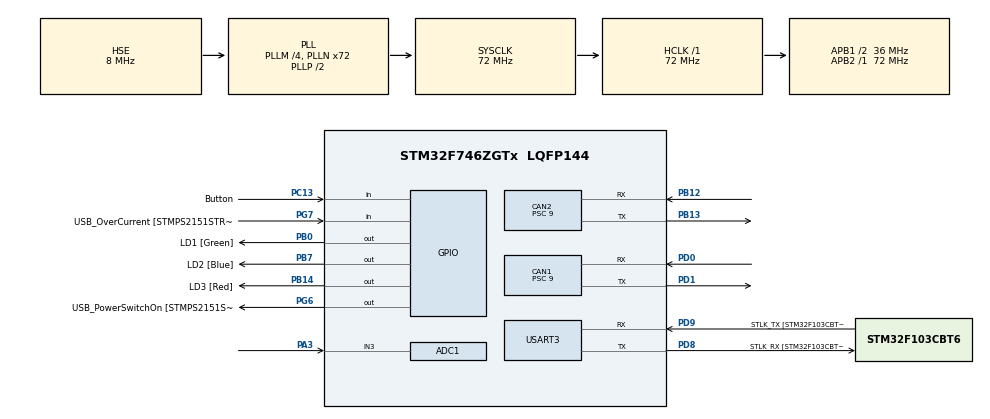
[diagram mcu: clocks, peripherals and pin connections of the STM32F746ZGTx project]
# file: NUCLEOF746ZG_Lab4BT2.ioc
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ADC1.Channel-4\#ChannelRegularConversion=ADC_CHANNEL_3
ADC1.Channel-5\#ChannelInjectedConversion=ADC_CHANNEL_3
ADC1.ExternalTrigConv=ADC_SOFTWARE_START
ADC1.ExternalTrigConvEdge=ADC_EXTERNALTRIGCONVEDGE_NONE
ADC1.InjNumberOfConversion=1
ADC1.InjectedOffset-5\#ChannelInjectedConversion=0
ADC1.InjectedRank-5\#ChannelInjectedConversion=1
ADC1.NbrOfConversion=1
ADC1.NbrOfConversionFlag=1
ADC1.Rank-4\#ChannelRegularConversion=1
ADC1.Resolution=ADC_RESOLUTION_8B
ADC1.SamplingTime-4\#ChannelRegularConversion=ADC_SAMPLETIME_15CYCLES
ADC1.SamplingTime-5\#ChannelInjectedConversion=ADC_SAMPLETIME_3CYCLES
ADC1.master=1
CAN1.BS1=CAN_BS1_3TQ
CAN1.BS2=CAN_BS2_4TQ
CAN1.CalculateBaudRate=500000
CAN1.CalculateTimeBit=2000
CAN1.CalculateTimeQuantum=250.0
CAN1.Prescaler=9
CAN1.SJW=CAN_SJW_2TQ
CAN2.BS1=CAN_BS1_3TQ
CAN2.BS2=CAN_BS2_4TQ
CAN2.CalculateBaudRate=500000
CAN2.CalculateTimeBit=2000
CAN2.CalculateTimeQuantum=250.0
CAN2.Prescaler=9
CAN2.SJW=CAN_SJW_2TQ
CORTEX_M7.CPU_ICache=Disabled
CORTEX_M7.PREFETCH_ENABLE=0
FREERTOS.Events01=DoneTransfer,Dynamic,NULL
FREERTOS.Tasks01=Tester,24,128,TesterTask,Default,NULL,Dynamic,NULL,NULL;ECU,24,128,ECUTask,Default,NULL,Dynamic,NULL,NULL
FREERTOS.configUSE_NEWLIB_REENTRANT=1
Mcu.Family=STM32F7
Mcu.Name=STM32F746ZGTx
Mcu.Package=LQFP144
NVIC.CAN1_RX0_IRQn=true\:5\:0\:false\:false\:true\:true\:true\:true\:true
NVIC.CAN2_RX1_IRQn=true\:5\:0\:false\:false\:true\:true\:true\:true\:true
NVIC.PriorityGroup=NVIC_PRIORITYGROUP_4
NVIC.TIM1_UP_TIM10_IRQn=true\:15\:0\:false\:false\:true\:false\:false\:true\:true
NVIC.TimeBase=TIM1_UP_TIM10_IRQn
NVIC.TimeBaseIP=TIM1
PA13.Mode=Serial_Wire
PA13.Signal=SYS_JTMS-SWDIO
PA14.Mode=Serial_Wire
PA14.Signal=SYS_JTCK-SWCLK
PA3.Signal=ADCx_IN3
PB0.GPIO_Label=LD1 [Green]
PB0.Signal=GPIO_Output
PB12.Mode=CAN_Activate
PB12.Signal=CAN2_RX
PB13.Mode=CAN_Activate
PB13.Signal=CAN2_TX
PB14.GPIO_Label=LD3 [Red]
PB14.Signal=GPIO_Output
PB7.GPIO_Label=LD2 [Blue]
PB7.Signal=GPIO_Output
PC13.GPIO_Label=Button
PC13.Signal=GPIO_Input
PC14/OSC32_IN.Mode=LSE-External-Oscillator
PC14/OSC32_IN.Signal=RCC_OSC32_IN
PC15/OSC32_OUT.Mode=LSE-External-Oscillator
PC15/OSC32_OUT.Signal=RCC_OSC32_OUT
PD0.Mode=CAN_Activate
PD0.Signal=CAN1_RX
PD1.Mode=CAN_Activate
PD1.Signal=CAN1_TX
PD8.GPIO_Label=STLK_RX [STM32F103CBT6_PA3]
PD8.Mode=Asynchronous
PD8.Signal=USART3_TX
PD9.GPIO_Label=STLK_TX [STM32F103CBT6_PA2]
PD9.Mode=Asynchronous
PD9.Signal=USART3_RX
PG6.GPIO_Label=USB_PowerSwitchOn [STMPS2151STR_EN]
PG6.Signal=GPIO_Output
PG7.GPIO_Label=USB_OverCurrent [STMPS2151STR_FAULT]
PG7.Signal=GPIO_Input
PH0/OSC_IN.GPIO_Label=MCO [STM32F103CBT6_PA8]
PH0/OSC_IN.Mode=HSE-External-Clock-Source
PH0/OSC_IN.Signal=RCC_OSC_IN
PH1/OSC_OUT.Mode=HSE-External-Clock-Source
PH1/OSC_OUT.Signal=RCC_OSC_OUT
ProjectManager.HeapSize=0x200
ProjectManager.StackSize=0x400
ProjectManager.TargetToolchain=STM32CubeIDE
RCC.48MHZClocksFreq_Value=24000000
RCC.AHBFreq_Value=72000000
RCC.APB1CLKDivider=RCC_HCLK_DIV2
RCC.APB1Freq_Value=36000000
RCC.APB1TimFreq_Value=72000000
RCC.APB2Freq_Value=72000000
RCC.APB2TimFreq_Value=72000000
RCC.CortexFreq_Value=72000000
RCC.HCLKFreq_Value=72000000
RCC.HSE_VALUE=8000000
RCC.HSI_VALUE=16000000
RCC.PLLM=4
RCC.PLLMUL=RCC_PLL_MUL9
RCC.PLLN=72
RCC.PLLQ=3
RCC.PLLSourceVirtual=RCC_PLLSOURCE_HSE
RCC.PRESCALERUSB=RCC_USBCLKSOURCE_PLL_DIV1_5
RCC.SYSCLKFreq_VALUE=72000000
RCC.SYSCLKSource=RCC_SYSCLKSOURCE_PLLCLK
RCC.SYSCLKSourceVirtual=RCC_SYSCLKSOURCE_PLLCLK
RCC.USBFreq_Value=48000000
RCC.VCOOutputFreq_Value=144000000
SH.ADCx_IN3.0=ADC1_IN3,IN3
USART3.VirtualMode-Asynchronous=VM_ASYNC
VP_FREERTOS_VS_CMSIS_V2.Mode=CMSIS_V2
VP_SYS_VS_tim1.Mode=TIM1
board=NUCLEO-F746ZG

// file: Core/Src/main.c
/* USER CODE BEGIN Header */
/**
 ******************************************************************************
 * @file           : main.c
 * @brief          : Main program body
 ******************************************************************************
 * @attention
 *
 * Copyright (c) 2022 STMicroelectronics.
 * All rights reserved.
 *
 * This software is licensed under terms that can be found in the LICENSE file
 * in the root directory of this software component.
 * If no LICENSE file comes with this software, it is provided AS-IS.
 *
 ******************************************************************************
 */
/* USER CODE END Header */
#include "main.h"
#include "cmsis_os.h"

/* USER CODE BEGIN Includes */
#include "stdio.h"
/* USER CODE END Includes */

/* USER CODE BEGIN PTD */
#ifdef __GNUC__
/* With GCC/RAISONANCE, small printf (option LD Linker->Libraries->Small printf
 set to 'Yes') calls __io_putchar() */
#define PUTCHAR_PROTOTYPE int __io_putchar(int ch)
#else
#define PUTCHAR_PROTOTYPE int fputc(int ch, FILE *f)
#endif /* __GNUC__ */
/* USER CODE END PTD */

/* USER CODE BEGIN PD */
#define ACTIVATE_FLAG (1UL << 0)
/* USER CODE END PD */

ADC_HandleTypeDef hadc1;

CAN_HandleTypeDef hcan1;
CAN_HandleTypeDef hcan2;

UART_HandleTypeDef huart3;

/* Definitions for Tester */
osThreadId_t TesterHandle;
const osThreadAttr_t Tester_attributes = {
    .name       = "Tester",
    .stack_size = 128 * 4,
    .priority   = (osPriority_t)osPriorityNormal,
};
/* Definitions for ECU */
osThreadId_t ECUHandle;
const osThreadAttr_t ECU_attributes = {
    .name       = "ECU",
    .stack_size = 128 * 4,
    .priority   = (osPriority_t)osPriorityNormal,
};
/* Definitions for DoneTransfer */
osEventFlagsId_t DoneTransferHandle;
const osEventFlagsAttr_t DoneTransfer_attributes = {
    .name = "DoneTransfer"};
/* USER CODE BEGIN PV */
CAN_TxHeaderTypeDef Node1_TxHeader;
CAN_RxHeaderTypeDef Node1_RxHeader;

CAN_TxHeaderTypeDef Node2_TxHeader;
CAN_RxHeaderTypeDef Node2_RxHeader;

uint32_t Node1TxMsgMailBox;
uint32_t Node2TxMsgMailBox;

uint8_t Node1_TxData[8];

/* USER CODE END PV */

void SystemClock_Config(void);
static void MX_GPIO_Init(void);
static void MX_USART3_UART_Init(void);
static void MX_CAN1_Init(void);
static void MX_CAN2_Init(void);
static void MX_ADC1_Init(void);
void TesterTask(void *argument);
void ECUTask(void *argument);

/* USER CODE BEGIN 0 */
void HAL_CAN_RxFifo0MsgPendingCallback(CAN_HandleTypeDef *hcan)
{
}
void HAL_CAN_RxFifo1MsgPendingCallback(CAN_HandleTypeDef *hcan)
{
}
/* USER CODE END 0 */

int main(void)
{
    /* USER CODE BEGIN 1 */
    Node1_TxHeader.IDE   = CAN_ID_STD;
    Node1_TxHeader.StdId = 0x712;
    Node1_TxHeader.RTR   = CAN_RTR_DATA;
    Node1_TxHeader.DLC   = 8;

    Node2_TxHeader.IDE   = CAN_ID_STD;
    Node2_TxHeader.StdId = 0x7A2;
    Node2_TxHeader.RTR   = CAN_RTR_DATA;
    Node2_TxHeader.DLC   = 8;
    /* USER CODE END 1 */

    /* MCU Configuration--------------------------------------------------------*/

    /* Reset of all peripherals, Initializes the Flash interface and the Systick. */
    HAL_Init();

    /* Configure the system clock */
    SystemClock_Config();

    /* Initialize all configured peripherals */
    MX_GPIO_Init();
    MX_USART3_UART_Init();
    MX_CAN1_Init();
    MX_CAN2_Init();
    MX_ADC1_Init();
    /* USER CODE BEGIN 2 */
    // HAL_CAN_ActivateNotification(&hcan1, CAN_IT_RX_FIFO0_MSG_PENDING);
    // HAL_CAN_ActivateNotification(&hcan2, CAN_IT_RX_FIFO0_MSG_PENDING);
    /* USER CODE END 2 */

    /* Init scheduler */
    osKernelInitialize();

    /* Create the thread(s) */
    /* creation of Tester */
    TesterHandle = osThreadNew(TesterTask, NULL, &Tester_attributes);

    /* creation of ECU */
    ECUHandle = osThreadNew(ECUTask, NULL, &ECU_attributes);

    /* Create the event(s) */
    /* creation of DoneTransfer */
    DoneTransferHandle = osEventFlagsNew(&DoneTransfer_attributes);

    /* Start scheduler */
    osKernelStart();

    /* We should never get here as control is now taken by the scheduler */
    /* Infinite loop */
    while (1) {

    }
}

void SystemClock_Config(void)
{
    RCC_OscInitTypeDef RCC_OscInitStruct = {0};
    RCC_ClkInitTypeDef RCC_ClkInitStruct = {0};

    /** Configure LSE Drive Capability
     */
    HAL_PWR_EnableBkUpAccess();

    /** Configure the main internal regulator output voltage
     */
    __HAL_RCC_PWR_CLK_ENABLE();
    __HAL_PWR_VOLTAGESCALING_CONFIG(PWR_REGULATOR_VOLTAGE_SCALE3);

    /** Initializes the RCC Oscillators according to the specified parameters
     * in the RCC_OscInitTypeDef structure.
     */
    RCC_OscInitStruct.OscillatorType = RCC_OSCILLATORTYPE_HSE;
    RCC_OscInitStruct.HSEState       = RCC_HSE_BYPASS;
    RCC_OscInitStruct.PLL.PLLState   = RCC_PLL_ON;
    RCC_OscInitStruct.PLL.PLLSource  = RCC_PLLSOURCE_HSE;
    RCC_OscInitStruct.PLL.PLLM       = 4;
    RCC_OscInitStruct.PLL.PLLN       = 72;
    RCC_OscInitStruct.PLL.PLLP       = RCC_PLLP_DIV2;
    RCC_OscInitStruct.PLL.PLLQ       = 3;
    if (HAL_RCC_OscConfig(&RCC_OscInitStruct) != HAL_OK) {
        Error_Handler();
    }

    /** Initializes the CPU, AHB and APB buses clocks
     */
    RCC_ClkInitStruct.ClockType      = RCC_CLOCKTYPE_HCLK | RCC_CLOCKTYPE_SYSCLK | RCC_CLOCKTYPE_PCLK1 | RCC_CLOCKTYPE_PCLK2;
    RCC_ClkInitStruct.SYSCLKSource   = RCC_SYSCLKSOURCE_PLLCLK;
    RCC_ClkInitStruct.AHBCLKDivider  = RCC_SYSCLK_DIV1;
    RCC_ClkInitStruct.APB1CLKDivider = RCC_HCLK_DIV2;
    RCC_ClkInitStruct.APB2CLKDivider = RCC_HCLK_DIV1;

    if (HAL_RCC_ClockConfig(&RCC_ClkInitStruct, FLASH_LATENCY_2) != HAL_OK) {
        Error_Handler();
    }
}

static void MX_ADC1_Init(void)
{

    ADC_ChannelConfTypeDef sConfig           = {0};
    ADC_InjectionConfTypeDef sConfigInjected = {0};

    /** Configure the global features of the ADC (Clock, Resolution, Data Alignment and number of conversion)
     */
    hadc1.Instance                   = ADC1;
    hadc1.Init.ClockPrescaler        = ADC_CLOCK_SYNC_PCLK_DIV2;
    hadc1.Init.Resolution            = ADC_RESOLUTION_8B;
    hadc1.Init.ScanConvMode          = ADC_SCAN_DISABLE;
    hadc1.Init.ContinuousConvMode    = DISABLE;
    hadc1.Init.DiscontinuousConvMode = DISABLE;
    hadc1.Init.ExternalTrigConvEdge  = ADC_EXTERNALTRIGCONVEDGE_NONE;
    hadc1.Init.ExternalTrigConv      = ADC_SOFTWARE_START;
    hadc1.Init.DataAlign             = ADC_DATAALIGN_RIGHT;
    hadc1.Init.NbrOfConversion       = 1;
    hadc1.Init.DMAContinuousRequests = DISABLE;
    hadc1.Init.EOCSelection          = ADC_EOC_SINGLE_CONV;
    if (HAL_ADC_Init(&hadc1) != HAL_OK) {
        Error_Handler();
    }

    /** Configure for the selected ADC regular channel its corresponding rank in the sequencer and its sample time.
     */
    sConfig.Channel      = ADC_CHANNEL_3;
    sConfig.Rank         = ADC_REGULAR_RANK_1;
    sConfig.SamplingTime = ADC_SAMPLETIME_15CYCLES;
    if (HAL_ADC_ConfigChannel(&hadc1, &sConfig) != HAL_OK) {
        Error_Handler();
    }

    /** Configures for the selected ADC injected channel its corresponding rank in the sequencer and its sample time
     */
    sConfigInjected.InjectedChannel               = ADC_CHANNEL_3;
    sConfigInjected.InjectedRank                  = ADC_INJECTED_RANK_1;
    sConfigInjected.InjectedNbrOfConversion       = 1;
    sConfigInjected.InjectedSamplingTime          = ADC_SAMPLETIME_3CYCLES;
    sConfigInjected.ExternalTrigInjecConvEdge     = ADC_EXTERNALTRIGINJECCONVEDGE_NONE;
    sConfigInjected.ExternalTrigInjecConv         = ADC_INJECTED_SOFTWARE_START;
    sConfigInjected.AutoInjectedConv              = DISABLE;
    sConfigInjected.InjectedDiscontinuousConvMode = DISABLE;
    sConfigInjected.InjectedOffset                = 0;
    if (HAL_ADCEx_InjectedConfigChannel(&hadc1, &sConfigInjected) != HAL_OK) {
        Error_Handler();
    }
}

static void MX_CAN1_Init(void)
{

    hcan1.Instance                  = CAN1;
    hcan1.Init.Prescaler            = 9;
    hcan1.Init.Mode                 = CAN_MODE_NORMAL;
    hcan1.Init.SyncJumpWidth        = CAN_SJW_2TQ;
    hcan1.Init.TimeSeg1             = CAN_BS1_3TQ;
    hcan1.Init.TimeSeg2             = CAN_BS2_4TQ;
    hcan1.Init.TimeTriggeredMode    = DISABLE;
    hcan1.Init.AutoBusOff           = DISABLE;
    hcan1.Init.AutoWakeUp           = DISABLE;
    hcan1.Init.AutoRetransmission   = DISABLE;
    hcan1.Init.ReceiveFifoLocked    = DISABLE;
    hcan1.Init.TransmitFifoPriority = DISABLE;
    if (HAL_CAN_Init(&hcan1) != HAL_OK) {
        Error_Handler();
    }
    /* USER CODE BEGIN CAN1_Init 2 */
    CAN_FilterTypeDef canfilterconfig;
    canfilterconfig.FilterActivation     = CAN_FILTER_ENABLE;
    canfilterconfig.FilterBank           = 18;
    canfilterconfig.FilterFIFOAssignment = CAN_FILTER_FIFO0;
    canfilterconfig.FilterIdHigh         = 0x7A2 << 5;
    canfilterconfig.FilterIdLow          = 0;
    canfilterconfig.FilterMaskIdHigh     = 0x7A2 << 5;
    canfilterconfig.FilterMaskIdLow      = 0x0000;
    canfilterconfig.FilterMode           = CAN_FILTERMODE_IDMASK;
    canfilterconfig.FilterScale          = CAN_FILTERSCALE_32BIT;
    canfilterconfig.SlaveStartFilterBank = 20;

    HAL_CAN_ConfigFilter(&hcan1, &canfilterconfig);
    HAL_CAN_Start(&hcan1);
    /* USER CODE END CAN1_Init 2 */
}

static void MX_CAN2_Init(void)
{

    hcan2.Instance                  = CAN2;
    hcan2.Init.Prescaler            = 9;
    hcan2.Init.Mode                 = CAN_MODE_NORMAL;
    hcan2.Init.SyncJumpWidth        = CAN_SJW_2TQ;
    hcan2.Init.TimeSeg1             = CAN_BS1_3TQ;
    hcan2.Init.TimeSeg2             = CAN_BS2_4TQ;
    hcan2.Init.TimeTriggeredMode    = DISABLE;
    hcan2.Init.AutoBusOff           = DISABLE;
    hcan2.Init.AutoWakeUp           = DISABLE;
    hcan2.Init.AutoRetransmission   = DISABLE;
    hcan2.Init.ReceiveFifoLocked    = DISABLE;
    hcan2.Init.TransmitFifoPriority = DISABLE;
    if (HAL_CAN_Init(&hcan2) != HAL_OK) {
        Error_Handler();
    }
    /* USER CODE BEGIN CAN2_Init 2 */
    CAN_FilterTypeDef canfilterconfig;
    canfilterconfig.FilterActivation     = CAN_FILTER_ENABLE;
    canfilterconfig.FilterBank           = 10;
    canfilterconfig.FilterFIFOAssignment = CAN_FILTER_FIFO1;
    canfilterconfig.FilterIdHigh         = 0x712 << 5;
    canfilterconfig.FilterIdLow          = 0;
    canfilterconfig.FilterMaskIdHigh     = 0x712 << 5;
    canfilterconfig.FilterMaskIdLow      = 0;
    canfilterconfig.FilterMode           = CAN_FILTERMODE_IDMASK;
    canfilterconfig.FilterScale          = CAN_FILTERSCALE_32BIT;
    canfilterconfig.SlaveStartFilterBank = 0;

    HAL_CAN_ConfigFilter(&hcan2, &canfilterconfig);
    HAL_CAN_Start(&hcan2);
    /* USER CODE END CAN2_Init 2 */
}

static void MX_USART3_UART_Init(void)
{

    huart3.Instance                    = USART3;
    huart3.Init.BaudRate               = 115200;
    huart3.Init.WordLength             = UART_WORDLENGTH_8B;
    huart3.Init.StopBits               = UART_STOPBITS_1;
    huart3.Init.Parity                 = UART_PARITY_NONE;
    huart3.Init.Mode                   = UART_MODE_TX_RX;
    huart3.Init.HwFlowCtl              = UART_HWCONTROL_NONE;
    huart3.Init.OverSampling           = UART_OVERSAMPLING_16;
    huart3.Init.OneBitSampling         = UART_ONE_BIT_SAMPLE_DISABLE;
    huart3.AdvancedInit.AdvFeatureInit = UART_ADVFEATURE_NO_INIT;
    if (HAL_UART_Init(&huart3) != HAL_OK) {
        Error_Handler();
    }
}

static void MX_GPIO_Init(void)
{
    GPIO_InitTypeDef GPIO_InitStruct = {0};

    /* GPIO Ports Clock Enable */
    __HAL_RCC_GPIOC_CLK_ENABLE();
    __HAL_RCC_GPIOH_CLK_ENABLE();
    __HAL_RCC_GPIOA_CLK_ENABLE();
    __HAL_RCC_GPIOB_CLK_ENABLE();
    __HAL_RCC_GPIOD_CLK_ENABLE();
    __HAL_RCC_GPIOG_CLK_ENABLE();

    /*Configure GPIO pin Output Level */
    HAL_GPIO_WritePin(GPIOB, LD1_Pin | LD3_Pin | LD2_Pin, GPIO_PIN_RESET);

    /*Configure GPIO pin Output Level */
    HAL_GPIO_WritePin(USB_PowerSwitchOn_GPIO_Port, USB_PowerSwitchOn_Pin, GPIO_PIN_RESET);

    /*Configure GPIO pin : Button_Pin */
    GPIO_InitStruct.Pin  = Button_Pin;
    GPIO_InitStruct.Mode = GPIO_MODE_INPUT;
    GPIO_InitStruct.Pull = GPIO_NOPULL;
    HAL_GPIO_Init(Button_GPIO_Port, &GPIO_InitStruct);

    /*Configure GPIO pins : LD1_Pin LD3_Pin LD2_Pin */
    GPIO_InitStruct.Pin   = LD1_Pin | LD3_Pin | LD2_Pin;
    GPIO_InitStruct.Mode  = GPIO_MODE_OUTPUT_PP;
    GPIO_InitStruct.Pull  = GPIO_NOPULL;
    GPIO_InitStruct.Speed = GPIO_SPEED_FREQ_LOW;
    HAL_GPIO_Init(GPIOB, &GPIO_InitStruct);

    /*Configure GPIO pin : USB_PowerSwitchOn_Pin */
    GPIO_InitStruct.Pin   = USB_PowerSwitchOn_Pin;
    GPIO_InitStruct.Mode  = GPIO_MODE_OUTPUT_PP;
    GPIO_InitStruct.Pull  = GPIO_NOPULL;
    GPIO_InitStruct.Speed = GPIO_SPEED_FREQ_LOW;
    HAL_GPIO_Init(USB_PowerSwitchOn_GPIO_Port, &GPIO_InitStruct);

    /*Configure GPIO pin : USB_OverCurrent_Pin */
    GPIO_InitStruct.Pin  = USB_OverCurrent_Pin;
    GPIO_InitStruct.Mode = GPIO_MODE_INPUT;
    GPIO_InitStruct.Pull = GPIO_NOPULL;
    HAL_GPIO_Init(USB_OverCurrent_GPIO_Port, &GPIO_InitStruct);
}

/* USER CODE BEGIN 4 */
PUTCHAR_PROTOTYPE
{
    HAL_UART_Transmit(&huart3, (uint8_t *)&ch, sizeof(ch) - 1, HAL_MAX_DELAY);
    return ch;
}
/* USER CODE END 4 */

void TesterTask(void *argument)
{
    /* USER CODE BEGIN 5 */
    // khai báo các mảng dữ liệu
    uint8_t const middle[10] = {0x00, 0x00, 0x00, 0x00, 0x00, 0x00, 0x00, 0x00, 0x00, 0x00};
    uint8_t const left[10]   = {0xAA, 0xAA, 0xAA, 0xAA, 0xAA, 0xAA, 0xAA, 0xAA, 0xAA, 0xAA};
    uint8_t const right[10]  = {0xFF, 0xFF, 0xFF, 0xFF, 0xFF, 0xFF, 0xFF, 0xFF, 0xFF, 0xFF};
    uint8_t const DataID[2]  = {0xF0, 0x02};
    GPIO_PinState a;
    uint8_t message1[8] = {};
    /* Infinite loop */
    for (;;) {
        HAL_GPIO_TogglePin(LD1_GPIO_Port, LD1_Pin);
        a = HAL_GPIO_ReadPin(Button_GPIO_Port, Button_Pin);
        if (a == GPIO_PIN_SET) {
            // First Frame
            message1[0] = 0x10;
            message1[1] = 0x0A;
            message1[2] = 0x2E;
            message1[3] = DataID[0];
            message1[4] = DataID[1];
            for (int i = 5; i < 8; i++) {
                message1[i] = middle[i - 5];
            }
            HAL_CAN_AddTxMessage(&hcan1, &Node1_TxHeader, message1, &Node1TxMsgMailBox);
            message1[0] = 0x21;
            for (int i = 1; i < 8; i++) {
                message1[i] = middle[i + 2];
            }
            HAL_CAN_AddTxMessage(&hcan1, &Node1_TxHeader, message1, &Node1TxMsgMailBox);
        } else {
            // First Frame
            message1[0] = 0x10;
            message1[1] = 0x0A;
            message1[2] = 0x2E;
            message1[3] = DataID[0];
            message1[4] = DataID[1];
            for (int i = 5; i < 8; i++) {
                message1[i] = right[i - 5];
            }
            HAL_CAN_AddTxMessage(&hcan1, &Node1_TxHeader, message1, &Node1TxMsgMailBox);
            message1[0] = 0x21;
            for (int i = 1; i < 8; i++) {
                message1[i] = right[i + 2];
            }
            HAL_CAN_AddTxMessage(&hcan1, &Node1_TxHeader, message1, &Node1TxMsgMailBox);
        }
        osEventFlagsSet(DoneTransferHandle, ACTIVATE_FLAG);
        osDelay(1000);
        HAL_CAN_GetRxMessage(&hcan1, CAN_RX_FIFO0, &Node1_RxHeader, message1);
        if (message1[0] == 0x2E + 0x40) {
            printf("%s\n", "Success");
        }
    }
    /* USER CODE END 5 */
}

void ECUTask(void *argument)
{
    /* USER CODE BEGIN ECUTask */
    uint32_t fifoLevel;
    uint8_t raw_message[8] = {};
    uint8_t message2[30]   = {};
    uint32_t datalength;
    uint8_t UDS_service_ID;
    uint8_t DataID[2];
    uint8_t reponse[3];
    int i;
    /* Infinite loop */
    for (;;) {
        osEventFlagsWait(DoneTransferHandle, ACTIVATE_FLAG, osFlagsWaitAny, osWaitForever);
        fifoLevel = HAL_CAN_GetRxFifoFillLevel(&hcan2, CAN_RX_FIFO1);
        if (fifoLevel != 0) {
            HAL_GPIO_TogglePin(LD2_GPIO_Port, LD2_Pin);
            HAL_CAN_GetRxMessage(&hcan2, CAN_RX_FIFO1, &Node2_RxHeader, raw_message);
            if (raw_message[0] & 0b11110000) {
                datalength     = raw_message[0] & 0b00001111;
                datalength     = (datalength << 4) + raw_message[1];
                UDS_service_ID = raw_message[2];
                DataID[0]      = raw_message[3];
                DataID[1]      = raw_message[4];
                for (i = 0; i + 5 < 8; i++) {
                    message2[i] = raw_message[i + 5];
                }
                for (i = i; i < datalength; i++) {
                    HAL_CAN_GetRxMessage(&hcan2, CAN_RX_FIFO1, &Node2_RxHeader, raw_message);
                    for (int x = 1; x < 8; x++) {
                        message2[i] = raw_message[x];
                        i++;
                        if (i == datalength) break;
                    }
                }
            } else {
                datalength = raw_message[0] & 0b00001111;
                for (i = 0; i < datalength; i++) {
                    message2[i] = raw_message[i + 1];
                }
            }
            fifoLevel = 0;
            for (int x = 0; x < datalength; x++) {
                printf("%02X ", message2[x]);
            }
            printf("\n");
            Node2_TxHeader.DLC = 3;
            reponse[0]         = UDS_service_ID + 0x40;
            reponse[1]         = DataID[0];
            reponse[2]         = DataID[1];
            HAL_CAN_AddTxMessage(&hcan2, &Node2_TxHeader, reponse, &Node2TxMsgMailBox);
        }
    }
    /* USER CODE END ECUTask */
}

void HAL_TIM_PeriodElapsedCallback(TIM_HandleTypeDef *htim)
{
    if (htim->Instance == TIM1) {
        HAL_IncTick();
    }
}

void Error_Handler(void)
{
    __disable_irq();
    while (1) {
    }
}
